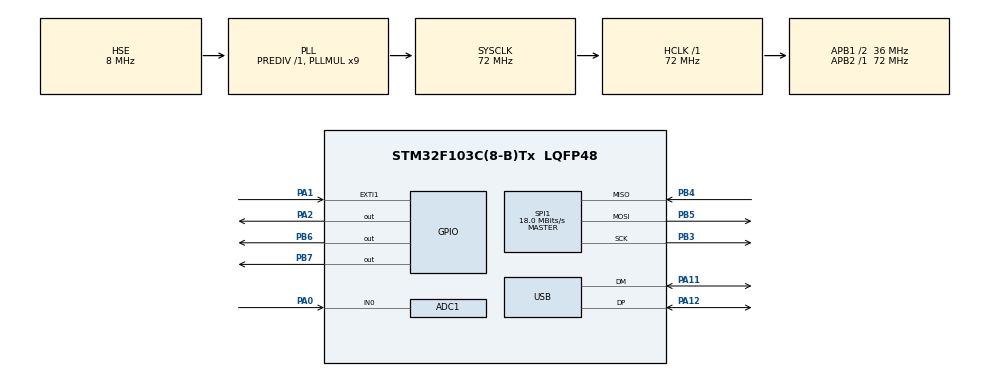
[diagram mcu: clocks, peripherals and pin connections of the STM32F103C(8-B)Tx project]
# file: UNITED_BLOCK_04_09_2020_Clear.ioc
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ADC1.Channel-0\#ChannelRegularConversion=ADC_CHANNEL_0
ADC1.ContinuousConvMode=ENABLE
ADC1.EnableAnalogWatchDog=false
ADC1.EnableInjectedConversion=DISABLE
ADC1.InjNumberOfConversion=1
ADC1.NbrOfConversion=1
ADC1.NbrOfConversionFlag=1
ADC1.Rank-0\#ChannelRegularConversion=1
ADC1.SamplingTime-0\#ChannelRegularConversion=ADC_SAMPLETIME_1CYCLE_5
ADC1.master=1
Dma.ADC1.0.Direction=DMA_PERIPH_TO_MEMORY
Dma.ADC1.0.Instance=DMA1_Channel1
Dma.ADC1.0.MemDataAlignment=DMA_MDATAALIGN_HALFWORD
Dma.ADC1.0.MemInc=DMA_MINC_ENABLE
Dma.ADC1.0.Mode=DMA_CIRCULAR
Dma.ADC1.0.PeriphDataAlignment=DMA_PDATAALIGN_HALFWORD
Dma.ADC1.0.PeriphInc=DMA_PINC_DISABLE
Dma.ADC1.0.Priority=DMA_PRIORITY_VERY_HIGH
Dma.Request0=ADC1
Mcu.Family=STM32F1
Mcu.Name=STM32F103C(8-B)Tx
Mcu.Package=LQFP48
NVIC.DMA1_Channel1_IRQn=true\:0\:0\:false\:false\:true\:false\:true
NVIC.EXTI1_IRQn=true\:0\:0\:true\:false\:true\:true\:true
NVIC.PriorityGroup=NVIC_PRIORITYGROUP_4
NVIC.USB_HP_CAN1_TX_IRQn=true\:0\:0\:true\:false\:true\:true\:true
NVIC.USB_LP_CAN1_RX0_IRQn=true\:0\:0\:true\:false\:true\:false\:true
PA0-WKUP.Signal=SharedAnalog_PA0
PA1.Signal=GPXTI1
PA11.Mode=Device
PA11.Signal=USB_DM
PA12.Mode=Device
PA12.Signal=USB_DP
PA13.Mode=Serial_Wire
PA13.Signal=SYS_JTMS-SWDIO
PA14.Mode=Serial_Wire
PA14.Signal=SYS_JTCK-SWCLK
PA2.Signal=GPIO_Output
PB3.Mode=Full_Duplex_Master
PB3.Signal=SPI1_SCK
PB4.Mode=Full_Duplex_Master
PB4.Signal=SPI1_MISO
PB5.Mode=Full_Duplex_Master
PB5.Signal=SPI1_MOSI
PB6.PinState=GPIO_PIN_SET
PB6.Signal=GPIO_Output
PB7.PinState=GPIO_PIN_SET
PB7.Signal=GPIO_Output
PC14-OSC32_IN.Mode=LSE-External-Oscillator
PC14-OSC32_IN.Signal=RCC_OSC32_IN
PC15-OSC32_OUT.Mode=LSE-External-Oscillator
PC15-OSC32_OUT.Signal=RCC_OSC32_OUT
PD0-OSC_IN.Mode=HSE-External-Oscillator
PD0-OSC_IN.Signal=RCC_OSC_IN
PD1-OSC_OUT.Mode=HSE-External-Oscillator
PD1-OSC_OUT.Signal=RCC_OSC_OUT
ProjectManager.HeapSize=0x200
ProjectManager.StackSize=0x400
ProjectManager.TargetToolchain=STM32CubeIDE
RCC.ADCPresc=RCC_ADCPCLK2_DIV6
RCC.AHBFreq_Value=72000000
RCC.APB1CLKDivider=RCC_HCLK_DIV2
RCC.APB1Freq_Value=36000000
RCC.APB1TimFreq_Value=72000000
RCC.APB2Freq_Value=72000000
RCC.APB2TimFreq_Value=72000000
RCC.HCLKFreq_Value=72000000
RCC.PLLMUL=RCC_PLL_MUL9
RCC.PLLSourceVirtual=RCC_PLLSOURCE_HSE
RCC.SYSCLKFreq_VALUE=72000000
RCC.SYSCLKSource=RCC_SYSCLKSOURCE_PLLCLK
RCC.USBFreq_Value=48000000
RCC.USBPrescaler=RCC_USBCLKSOURCE_PLL_DIV1_5
SH.SharedAnalog_PA0.0=GPIO_Analog
SH.SharedAnalog_PA0.1=ADC1_IN0,IN0
SPI1.BaudRatePrescaler=SPI_BAUDRATEPRESCALER_4
SPI1.CalculateBaudRate=18.0 MBits/s
SPI1.DataSize=SPI_DATASIZE_16BIT
SPI1.Direction=SPI_DIRECTION_2LINES
SPI1.Mode=SPI_MODE_MASTER
SPI1.VirtualType=VM_MASTER
USB_DEVICE.APP_RX_DATA_SIZE=64
USB_DEVICE.APP_TX_DATA_SIZE=64
USB_DEVICE.CLASS_NAME_FS=CDC
USB_DEVICE.VirtualMode=Cdc
USB_DEVICE.VirtualModeFS=Cdc_FS
VP_USB_DEVICE_VS_USB_DEVICE_CDC_FS.Mode=CDC_FS
board=custom

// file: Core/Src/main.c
/* USER CODE BEGIN Header */
/**
  ******************************************************************************
  * @file           : main.c
  * @brief          : Main program body
  ******************************************************************************
  * @attention
  *
  * <h2><center>&copy; Copyright (c) 2020 STMicroelectronics.
  * All rights reserved.</center></h2>
  *
  * This software component is licensed by ST under BSD 3-Clause license,
  * the "License"; You may not use this file except in compliance with the
  * License. You may obtain a copy of the License at:
  *                        opensource.org/licenses/BSD-3-Clause
  *
  ******************************************************************************
  */
/* USER CODE END Header */
#include "main.h"
#include "usb_device.h"

ADC_HandleTypeDef hadc1;
DMA_HandleTypeDef hdma_adc1;

SPI_HandleTypeDef hspi1;

/* USER CODE BEGIN PV */

#define Gain				1
#define Trigger_Level_Set	2
#define Start_Stream		3
#define Start_Trace 		4
#define Start_Trigger 		5
#define Stop 				6

char RX_Str[64];

volatile uint16_t DMA_Triggered_Part_Flag = 0;
volatile uint16_t DMA_Stream_Part_Flag = 0;

#define ADC_DMA_Len 1000
#define ADC_DMA_Half_Len 500
uint16_t ADC_DMA_Buf[ADC_DMA_Len];

#define ADC_CDC_Transmit_Len  5000
uint16_t ADC_CDC_Transmit_Buf[ADC_CDC_Transmit_Len];

uint16_t Trigger_Level = 1000;

uint16_t CDC_RX_Len = 0;

/* USER CODE END PV */

void SystemClock_Config(void);
static void MX_GPIO_Init(void);
static void MX_DMA_Init(void);
static void MX_ADC1_Init(void);
static void MX_SPI1_Init(void);

/* USER CODE BEGIN 0 */
void Ok_Mess()
{
	char mess[] = "Done!\n";
	CDC_Transmit_FS(&mess, strlen(mess));
}

void Start_Symbol()
{
	uint16_t mess = 0xFFFF;
	while(CDC_Transmit_FS(&mess, sizeof(mess)) == USBD_BUSY);
}

void Stop_Symbol()
{
	uint16_t mess = 0xFFFE;
	while(CDC_Transmit_FS(&mess, sizeof(mess)) == USBD_BUSY);
}

void ADC_Trigger_Mod()
{
	DMA_Triggered_Part_Flag = 1;
		if(HAL_ADC_GetValue(&hadc1)>Trigger_Level)
		{
			DMA_Triggered_Part_Flag = 2;
			while(DMA_Triggered_Part_Flag != 0){}
			HAL_GPIO_WritePin(GPIOA, GPIO_PIN_2, GPIO_PIN_SET);
			Start_Symbol();
			while(CDC_Transmit_FS((uint8_t*)&ADC_CDC_Transmit_Buf, sizeof(uint16_t)*ADC_CDC_Transmit_Len) == USBD_BUSY);
			DMA_Triggered_Part_Flag = 1;
			Stop_Symbol();
			HAL_GPIO_WritePin(GPIOA, GPIO_PIN_2, GPIO_PIN_RESET);
		}
}

void ADC_Stream_Mod()
{
	DMA_Stream_Part_Flag = 1;
	while(DMA_Stream_Part_Flag != 0){}
	Start_Symbol();
	while(CDC_Transmit_FS((uint8_t*)&ADC_CDC_Transmit_Buf, sizeof(uint16_t)*ADC_CDC_Transmit_Len) == USBD_BUSY);
	Stop_Symbol();
	DMA_Stream_Part_Flag = 0;
}

void DAC_Write(uint16_t val)
{
  uint16_t dac_data = 0x7000 | (val&0x0FFF);
  uint8_t data[2];
  memcpy(&data, &dac_data, sizeof(data));
  HAL_GPIO_WritePin(GPIOB, GPIO_PIN_7, GPIO_PIN_RESET);
  HAL_SPI_Transmit(&hspi1, data, sizeof(data), 0);
  HAL_GPIO_WritePin(GPIOB, GPIO_PIN_7, GPIO_PIN_SET);
}

/* USER CODE END 0 */

int main(void)
{

  /* MCU Configuration--------------------------------------------------------*/

  /* Reset of all peripherals, Initializes the Flash interface and the Systick. */
  HAL_Init();

  /* Configure the system clock */
  SystemClock_Config();

  /* Initialize all configured peripherals */
  MX_GPIO_Init();
  MX_DMA_Init();
  MX_ADC1_Init();
  MX_SPI1_Init();
  MX_USB_DEVICE_Init();
  /* USER CODE BEGIN 2 */

  HAL_ADCEx_Calibration_Start(&hadc1);
  HAL_ADC_Start(&hadc1);
  HAL_ADC_Start_DMA(&hadc1, (uint32_t*)&ADC_DMA_Buf, sizeof(uint16_t)*ADC_DMA_Half_Len);
  DAC_Write(2000);

  /* USER CODE END 2 */

  /* Infinite loop */
  /* USER CODE BEGIN WHILE */
  while (1)
  {

	ADC_Trigger_Mod();
	//ADC_Stream_Mod();
	//ADC_Stream_Mod();
    /* USER CODE END WHILE */

  }
}

void SystemClock_Config(void)
{
  RCC_OscInitTypeDef RCC_OscInitStruct = {0};
  RCC_ClkInitTypeDef RCC_ClkInitStruct = {0};
  RCC_PeriphCLKInitTypeDef PeriphClkInit = {0};

  /** Initializes the RCC Oscillators according to the specified parameters
  * in the RCC_OscInitTypeDef structure.
  */
  RCC_OscInitStruct.OscillatorType = RCC_OSCILLATORTYPE_HSE;
  RCC_OscInitStruct.HSEState = RCC_HSE_ON;
  RCC_OscInitStruct.HSEPredivValue = RCC_HSE_PREDIV_DIV1;
  RCC_OscInitStruct.HSIState = RCC_HSI_ON;
  RCC_OscInitStruct.PLL.PLLState = RCC_PLL_ON;
  RCC_OscInitStruct.PLL.PLLSource = RCC_PLLSOURCE_HSE;
  RCC_OscInitStruct.PLL.PLLMUL = RCC_PLL_MUL9;
  if (HAL_RCC_OscConfig(&RCC_OscInitStruct) != HAL_OK)
  {
    Error_Handler();
  }
  /** Initializes the CPU, AHB and APB buses clocks
  */
  RCC_ClkInitStruct.ClockType = RCC_CLOCKTYPE_HCLK|RCC_CLOCKTYPE_SYSCLK
                              |RCC_CLOCKTYPE_PCLK1|RCC_CLOCKTYPE_PCLK2;
  RCC_ClkInitStruct.SYSCLKSource = RCC_SYSCLKSOURCE_PLLCLK;
  RCC_ClkInitStruct.AHBCLKDivider = RCC_SYSCLK_DIV1;
  RCC_ClkInitStruct.APB1CLKDivider = RCC_HCLK_DIV2;
  RCC_ClkInitStruct.APB2CLKDivider = RCC_HCLK_DIV1;

  if (HAL_RCC_ClockConfig(&RCC_ClkInitStruct, FLASH_LATENCY_2) != HAL_OK)
  {
    Error_Handler();
  }
  PeriphClkInit.PeriphClockSelection = RCC_PERIPHCLK_ADC|RCC_PERIPHCLK_USB;
  PeriphClkInit.AdcClockSelection = RCC_ADCPCLK2_DIV6;
  PeriphClkInit.UsbClockSelection = RCC_USBCLKSOURCE_PLL_DIV1_5;
  if (HAL_RCCEx_PeriphCLKConfig(&PeriphClkInit) != HAL_OK)
  {
    Error_Handler();
  }
}

static void MX_ADC1_Init(void)
{

  ADC_ChannelConfTypeDef sConfig = {0};

  /** Common config
  */
  hadc1.Instance = ADC1;
  hadc1.Init.ScanConvMode = ADC_SCAN_DISABLE;
  hadc1.Init.ContinuousConvMode = ENABLE;
  hadc1.Init.DiscontinuousConvMode = DISABLE;
  hadc1.Init.ExternalTrigConv = ADC_SOFTWARE_START;
  hadc1.Init.DataAlign = ADC_DATAALIGN_RIGHT;
  hadc1.Init.NbrOfConversion = 1;
  if (HAL_ADC_Init(&hadc1) != HAL_OK)
  {
    Error_Handler();
  }
  /** Configure Regular Channel
  */
  sConfig.Channel = ADC_CHANNEL_0;
  sConfig.Rank = ADC_REGULAR_RANK_1;
  sConfig.SamplingTime = ADC_SAMPLETIME_1CYCLE_5;
  if (HAL_ADC_ConfigChannel(&hadc1, &sConfig) != HAL_OK)
  {
    Error_Handler();
  }

}

static void MX_SPI1_Init(void)
{

  /* SPI1 parameter configuration*/
  hspi1.Instance = SPI1;
  hspi1.Init.Mode = SPI_MODE_MASTER;
  hspi1.Init.Direction = SPI_DIRECTION_2LINES;
  hspi1.Init.DataSize = SPI_DATASIZE_16BIT;
  hspi1.Init.CLKPolarity = SPI_POLARITY_LOW;
  hspi1.Init.CLKPhase = SPI_PHASE_1EDGE;
  hspi1.Init.NSS = SPI_NSS_SOFT;
  hspi1.Init.BaudRatePrescaler = SPI_BAUDRATEPRESCALER_4;
  hspi1.Init.FirstBit = SPI_FIRSTBIT_MSB;
  hspi1.Init.TIMode = SPI_TIMODE_DISABLE;
  hspi1.Init.CRCCalculation = SPI_CRCCALCULATION_DISABLE;
  hspi1.Init.CRCPolynomial = 10;
  if (HAL_SPI_Init(&hspi1) != HAL_OK)
  {
    Error_Handler();
  }

}

static void MX_DMA_Init(void)
{

  /* DMA controller clock enable */
  __HAL_RCC_DMA1_CLK_ENABLE();

  /* DMA interrupt init */
  /* DMA1_Channel1_IRQn interrupt configuration */
  HAL_NVIC_SetPriority(DMA1_Channel1_IRQn, 0, 0);
  HAL_NVIC_EnableIRQ(DMA1_Channel1_IRQn);

}

static void MX_GPIO_Init(void)
{
  GPIO_InitTypeDef GPIO_InitStruct = {0};

  /* GPIO Ports Clock Enable */
  __HAL_RCC_GPIOC_CLK_ENABLE();
  __HAL_RCC_GPIOD_CLK_ENABLE();
  __HAL_RCC_GPIOA_CLK_ENABLE();
  __HAL_RCC_GPIOB_CLK_ENABLE();

  /*Configure GPIO pin Output Level */
  HAL_GPIO_WritePin(GPIOA, GPIO_PIN_2, GPIO_PIN_RESET);

  /*Configure GPIO pin Output Level */
  HAL_GPIO_WritePin(GPIOB, GPIO_PIN_6|GPIO_PIN_7, GPIO_PIN_SET);

  /*Configure GPIO pin : PA1 */
  GPIO_InitStruct.Pin = GPIO_PIN_1;
  GPIO_InitStruct.Mode = GPIO_MODE_IT_RISING;
  GPIO_InitStruct.Pull = GPIO_NOPULL;
  HAL_GPIO_Init(GPIOA, &GPIO_InitStruct);

  /*Configure GPIO pin : PA2 */
  GPIO_InitStruct.Pin = GPIO_PIN_2;
  GPIO_InitStruct.Mode = GPIO_MODE_OUTPUT_PP;
  GPIO_InitStruct.Pull = GPIO_NOPULL;
  GPIO_InitStruct.Speed = GPIO_SPEED_FREQ_LOW;
  HAL_GPIO_Init(GPIOA, &GPIO_InitStruct);

  /*Configure GPIO pins : PB6 PB7 */
  GPIO_InitStruct.Pin = GPIO_PIN_6|GPIO_PIN_7;
  GPIO_InitStruct.Mode = GPIO_MODE_OUTPUT_PP;
  GPIO_InitStruct.Pull = GPIO_NOPULL;
  GPIO_InitStruct.Speed = GPIO_SPEED_FREQ_LOW;
  HAL_GPIO_Init(GPIOB, &GPIO_InitStruct);

  /* EXTI interrupt init*/
  HAL_NVIC_SetPriority(EXTI1_IRQn, 0, 0);
  HAL_NVIC_EnableIRQ(EXTI1_IRQn);

}

/* USER CODE BEGIN 4 */
void CDC_ReciveCallBack(uint8_t *Buf, uint32_t *Len)
{

	//CDC_Transmit_FS(Buf, Len);// debug
	memcpy(RX_Str, Buf, Len);
	CDC_RX_Len = Len;
	//RX_Str[CDC_RX_Len] = '\n';

}

void HAL_GPIO_EXTI_Callback(uint16_t GPIO_Pin)
{
	if(GPIO_Pin == GPIO_PIN_1)
	{

	}
	else
	{
		__NOP();
	}
}

 void HAL_ADC_ConvCpltCallback(ADC_HandleTypeDef* hadc)
{
	 /*
	switch(DMA_Triggered_Part_Flag)
	{
		case 1:
			memcpy(&ADC_CDC_Transmit_Buf[0], &ADC_DMA_Buf[ADC_DMA_Half_Len], sizeof(uint16_t)*ADC_DMA_Half_Len);
		break;

		case 2:
			{memcpy(&ADC_CDC_Transmit_Buf[ADC_DMA_Half_Len], &ADC_DMA_Buf[ADC_DMA_Half_Len], sizeof(uint16_t)*ADC_DMA_Half_Len);
			DMA_Triggered_Part_Flag = 3;}
		break;

		case 3:
			{memcpy(&ADC_CDC_Transmit_Buf[ADC_DMA_Len], &ADC_DMA_Buf[ADC_DMA_Half_Len], sizeof(uint16_t)*ADC_DMA_Half_Len);
			DMA_Triggered_Part_Flag = 0;}
		break;
	}
	*/
	 if(DMA_Triggered_Part_Flag == 1)
		 memcpy(&ADC_CDC_Transmit_Buf[0], &ADC_DMA_Buf[ADC_DMA_Half_Len], sizeof(uint16_t)*ADC_DMA_Half_Len);

	if(DMA_Triggered_Part_Flag > 1)
	{
		memcpy(&ADC_CDC_Transmit_Buf[ADC_DMA_Half_Len*(DMA_Triggered_Part_Flag-1)], &ADC_DMA_Buf[ADC_DMA_Half_Len], sizeof(uint16_t)*ADC_DMA_Half_Len);
		if((DMA_Triggered_Part_Flag < (int)(ADC_CDC_Transmit_Len/ADC_DMA_Half_Len)))
		{DMA_Triggered_Part_Flag++;}
		else
		{DMA_Triggered_Part_Flag = 0;}
	}

	if(DMA_Stream_Part_Flag > 0)
	{
		memcpy(&ADC_CDC_Transmit_Buf[ADC_DMA_Half_Len*(DMA_Stream_Part_Flag-1)], &ADC_DMA_Buf[ADC_DMA_Half_Len], sizeof(uint16_t)*ADC_DMA_Half_Len);
		if(DMA_Stream_Part_Flag < (int)(ADC_CDC_Transmit_Len/ADC_DMA_Half_Len))
		{DMA_Stream_Part_Flag++;}
		else
		{DMA_Stream_Part_Flag = 0;}
	}

}

void HAL_ADC_ConvHalfCpltCallback(ADC_HandleTypeDef* hadc)
{
	/*
	switch(DMA_Triggered_Part_Flag)
	{
		case 1:
			{memcpy(&ADC_CDC_Transmit_Buf[0], &ADC_DMA_Buf[0], sizeof(uint16_t)*ADC_DMA_Half_Len);}
		break;

		case 2:
			{memcpy(&ADC_CDC_Transmit_Buf[ADC_DMA_Half_Len], &ADC_DMA_Buf[0], sizeof(uint16_t)*ADC_DMA_Half_Len);
			DMA_Triggered_Part_Flag = 3;}
		break;

		case 3:
			{memcpy(&ADC_CDC_Transmit_Buf[ADC_DMA_Len], &ADC_DMA_Buf[0], sizeof(uint16_t)*ADC_DMA_Half_Len);
			DMA_Triggered_Part_Flag = 0;}
		break;
	}
	*/
	if(DMA_Triggered_Part_Flag == 1)
		memcpy(&ADC_CDC_Transmit_Buf[0], &ADC_DMA_Buf[0], sizeof(uint16_t)*ADC_DMA_Half_Len);

	if(DMA_Triggered_Part_Flag > 1)
	{
		memcpy(&ADC_CDC_Transmit_Buf[ADC_DMA_Half_Len*(DMA_Triggered_Part_Flag-1)], &ADC_DMA_Buf[0], sizeof(uint16_t)*ADC_DMA_Half_Len);
		if((DMA_Triggered_Part_Flag < (int)(ADC_CDC_Transmit_Len/ADC_DMA_Half_Len)))
		{DMA_Triggered_Part_Flag++;}
		else
		{DMA_Triggered_Part_Flag = 0;}
	}

	if(DMA_Stream_Part_Flag > 0)
	{
		memcpy(&ADC_CDC_Transmit_Buf[ADC_DMA_Half_Len*(DMA_Stream_Part_Flag-1)], &ADC_DMA_Buf[0], sizeof(uint16_t)*ADC_DMA_Half_Len);
		if(DMA_Stream_Part_Flag < (int)(ADC_CDC_Transmit_Len/ADC_DMA_Half_Len))
		{DMA_Stream_Part_Flag++;}
		else
		{DMA_Stream_Part_Flag = 0;}
	}
}

/* USER CODE END 4 */

void Error_Handler(void)
{
}

/************************ (C) COPYRIGHT STMicroelectronics *****END OF FILE****/
